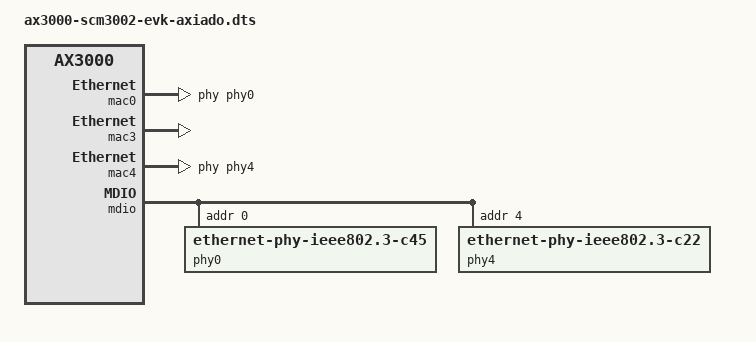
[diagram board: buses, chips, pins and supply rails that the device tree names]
// SPDX-License-Identifier: GPL-2.0+
 /*
  * DTS file for Axiado AX3000-SCM3002-evk
  * Copyright (c) 2025 Axiado Corporation.
  */

#include "ax3000-scm3002.dtsi"
#include "ax3000-net-mod.dtsi"

/ {
	compatible = "axiado,ax3000-evk", "axiado,ax3000";
};

&mac0 {
	phy-handle = <&phy0>;
	status = "okay";
};

&mac3 {
	status = "okay";
};

&mac4 {
	phy-handle = <&phy4>;
	status = "okay";
};

&mdio {
	phy0: phy0@0 {
		reg = <0>;
		compatible = "ethernet-phy-ieee802.3-c45";
		status = "okay";
	};
	phy4: phy4@4 {
		reg = <4>;
		compatible = "ethernet-phy-ieee802.3-c22";
		status = "okay";
	};
};
